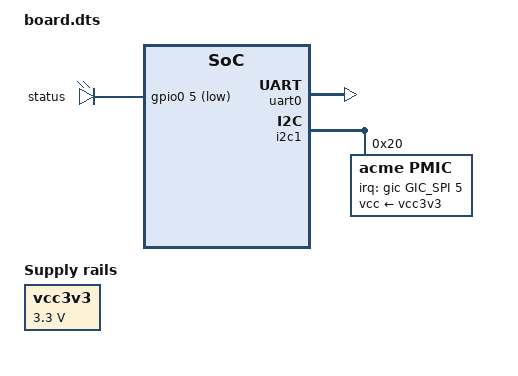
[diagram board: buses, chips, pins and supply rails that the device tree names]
/dts-v1/;
#include "soc.dtsi"

#define BOARD_NAME "Acme Test Board"
#define CAT(a, b) a##b

/ {
	model = BOARD_NAME;
	compatible = "acme,board", "acme,soc";

	chosen {
		stdout-path = "serial0:1500000n8";
		bootargs = "console=ttyS0 \"quoted\"\tend";
	};

	memory@40000000 {
		device_type = "memory";
		reg = <0x0 0x40000000 0x0 (512 * 1024 * 1024)>;
	};

	vcc3v3: regulator-vcc3v3 {
		compatible = "regulator-fixed";
		regulator-name = "vcc3v3";
		regulator-min-microvolt = <3300000>;
		regulator-max-microvolt = <3300000>;
	};

	leds {
		compatible = "gpio-leds";
		led-0 {
			gpios = <&gpio0 5 GPIO_ACTIVE_LOW>;
			label = "status";
			linux,default-trigger-id = <CAT(0x, 1f)>;
		};
	};

	misc {
		bytes = [de ad be ef 00];
		chars = <'A' '\n' '\x41'>;
		wide = /bits/ 64 <0x123456789abcdef0>;
		half = /bits/ 16 <0xffff 1>;
		neg = <(-2)>;
		expr = <(1 << 4 | 3) (10 % 3) (7 > 3 ? 100 : 200)>;
		path = &uart0, &{/soc/i2c@fe5a0000};
		mixed = "a", <1 &vcc3v3>, [aa];
		empty-string = "";
	};
};

&uart0 {
	pinctrl-names = "default";
	pinctrl-0 = <&uart0_xfer>;
	status = "okay";
};

&i2c1 {
	pinctrl-0 = <&i2c1_xfer>;
	status = "okay";

	pmic@20 {
		compatible = "acme,pmic";
		reg = <0x20>;
		vcc-supply = <&vcc3v3>;
		interrupts-extended = <&gic GIC_SPI 5 IRQ_TYPE_LEVEL_HIGH>;
	};
};

&soc {
	/delete-node/ removed@0;
};

&cpu1 {
	/delete-property/ enable-method;
};
